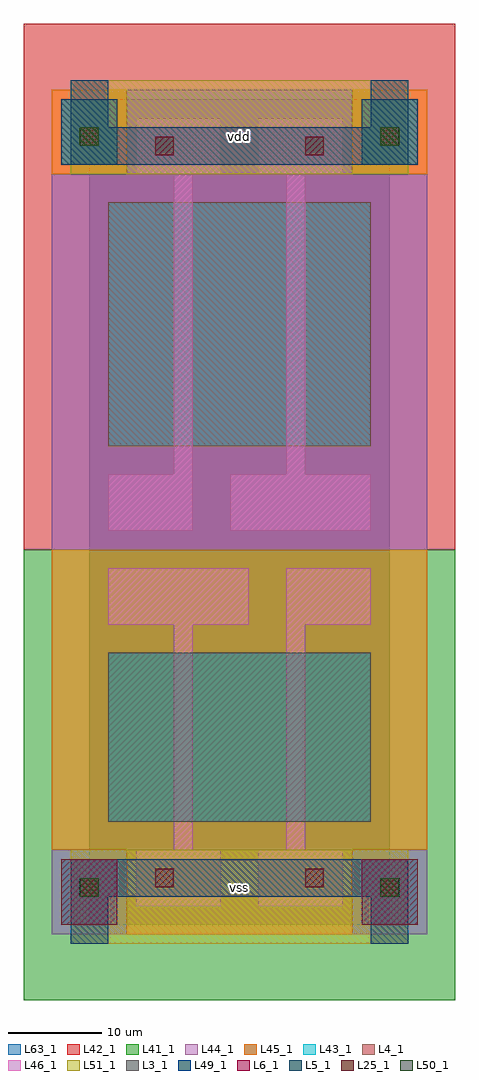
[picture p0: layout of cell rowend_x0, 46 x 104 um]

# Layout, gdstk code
import gdstk
lib = gdstk.Library(unit=1e-6, precision=1e-09)
def R(c, l, rs):  # rectangles x0, y0, x1, y1
    for r in rs: c.add(gdstk.rectangle(r[:2], r[2:], *l))
L3_1 = (3, 1)
L4_1 = (4, 1)
L5_1 = (5, 1)
L6_1 = (6, 1)
L25_1 = (25, 1)
L41_1 = (41, 1)
L42_1 = (42, 1)
L43_1 = (43, 1)
L44_1 = (44, 1)
L45_1 = (45, 1)
L46_1 = (46, 1)
L49_1 = (49, 1)
L50_1 = (50, 1)
L51_1 = (51, 1)
L63_1 = (63, 1)

rowend_x0 = lib.new_cell('rowend_x0')
R(rowend_x0, L3_1, [(2,11,30,29)])
R(rowend_x0, L4_1, [(2,51,30,77)])
R(rowend_x0, L5_1, [(-3,81,3,88), (29,81,35,88)])
R(rowend_x0, L6_1, [(-3,0,3,7), (-3,0,3,7), (29,0,35,7), (29,0,35,7)])
R(rowend_x0, L25_1, [(-1,3,1,5), (31,3,33,5), (7,4,9,6), (23,4,25,6), (7,82,9,84), (23,82,25,84), (-1,83,1,85), (31,83,33,85)])
R(rowend_x0, L41_1, [(-7,-8,39,40)])
R(rowend_x0, L42_1, [(-7,40,39,96)])
R(rowend_x0, L43_1, [(-3,0,3,7), (29,0,35,7), (2,11,30,29), (2,51,30,77), (-3,81,3,88), (29,81,35,88)])
R(rowend_x0, L44_1, [(-4,-1,4,8), (28,-1,36,8), (-4,40,36,80), (4,80,28,89)])
R(rowend_x0, L45_1, [(4,-1,28,8), (-4,8,36,40), (-4,80,4,89), (28,80,36,89)])
R(rowend_x0, L46_1, [(5,2,14,8), (18,2,27,8), (9,8,11,32), (21,8,23,32), (2,32,17,38), (21,32,30,38), (2,42,11,48), (15,42,30,48), (9,48,11,80), (21,48,23,80), (5,80,14,86), (18,80,27,86)])
R(rowend_x0, L49_1, [(-2,-2,2,3), (30,-2,34,3), (-2,3,34,7), (-2,81,34,85), (-2,85,2,90), (30,85,34,90)])
R(rowend_x0, L50_1, [(-1,3,1,5), (31,3,33,5), (-1,83,1,85), (31,83,33,85)])
R(rowend_x0, L51_1, [(-2,-2,34,8), (-2,80,34,90)])
R(rowend_x0, L63_1, [(0,0,32,88)])
rowend_x0.add(gdstk.Label('vss', (16,4), layer=51, texttype=1))
rowend_x0.add(gdstk.Label('vdd', (16,84), layer=51, texttype=1))

lib.write_gds('rowend_x0.gds')
